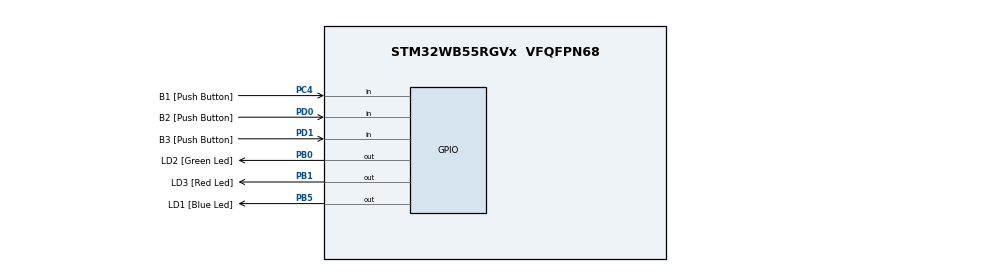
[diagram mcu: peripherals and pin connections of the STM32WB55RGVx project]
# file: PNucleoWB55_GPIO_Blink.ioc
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Mcu.Family=STM32WB
Mcu.Name=STM32WB55RGVx
Mcu.Package=VFQFPN68
NVIC.PriorityGroup=NVIC_PRIORITYGROUP_4
PA13.Mode=Serial_Wire
PA13.Signal=SYS_JTMS-SWDIO
PA14.Mode=Serial_Wire
PA14.Signal=SYS_JTCK-SWCLK
PB0.GPIO_Label=LD2 [Green Led]
PB0.PinState=GPIO_PIN_RESET
PB0.Signal=GPIO_Output
PB1.GPIO_Label=LD3 [Red Led]
PB1.Signal=GPIO_Output
PB5.GPIO_Label=LD1 [Blue Led]
PB5.PinState=GPIO_PIN_RESET
PB5.Signal=GPIO_Output
PC13.Mode=SYS_WakeUp1
PC13.Signal=SYS_WKUP2
PC4.GPIO_Label=B1 [Push Button]
PC4.Signal=GPIO_Input
PD0.GPIO_Label=B2 [Push Button]
PD0.Signal=GPIO_Input
PD1.GPIO_Label=B3 [Push Button]
PD1.Signal=GPIO_Input
ProjectManager.HeapSize=0x200
ProjectManager.StackSize=0x400
ProjectManager.TargetToolchain=STM32CubeIDE
RCC.ADCFreq_Value=12000000
RCC.AHB2CLKDivider=RCC_SYSCLK_DIV2
RCC.AHBFreq_Value=64000000
RCC.APB1Freq_Value=64000000
RCC.APB1TimFreq_Value=64000000
RCC.APB2Freq_Value=64000000
RCC.APB2TimFreq_Value=64000000
RCC.APB3Freq_Value=16000000
RCC.CortexFreq_Value=64000000
RCC.HCLKFreq_Value=64000000
RCC.HSE_VALUE=32000000
RCC.HSI48_VALUE=48000000
RCC.HSI_VALUE=16000000
RCC.LSE_VALUE=32768
RCC.PLLN=32
RCC.PLLSAI1N=6
RCC.SMPSCLockSelectionVirtual=RCC_SMPSCLKSOURCE_HSI
RCC.SMPSCLockSelectionVirtualVirtual=RCC_SMPSCLKSOURCE_HSI
RCC.SYSCLKFreq_VALUE=64000000
RCC.SYSCLKSource=RCC_SYSCLKSOURCE_PLLCLK
RCC.USBFreq_Value=12000000
RCC.VCOOutputFreq_Value=128000000
board=P-NUCLEO-WB55-Nucleo

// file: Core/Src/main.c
/* USER CODE BEGIN Header */
/**
 ******************************************************************************
 * @file           : main.c
 * @brief          : Main program body
 ******************************************************************************
 * @attention
 *
 * <h2><center>&copy; Copyright (c) 2020 STMicroelectronics.
 * All rights reserved.</center></h2>
 *
 * This software component is licensed by ST under BSD 3-Clause license,
 * the "License"; You may not use this file except in compliance with the
 * License. You may obtain a copy of the License at:
 *                        opensource.org/licenses/BSD-3-Clause
 *
 ******************************************************************************
 */
/* USER CODE END Header */

#include "main.h"

/* USER CODE BEGIN PV */
static __IO uint16_t hbTick = 0;
static __IO uint16_t longhbTick = 0;
static __IO uint8_t curStatus = 0;

/* USER CODE END PV */

void SystemClock_Config(void);
static void MX_GPIO_Init(void);

int main(void)
{

  /* MCU Configuration--------------------------------------------------------*/

  /* Reset of all peripherals, Initializes the Flash interface and the Systick. */
  HAL_Init();

  /* Configure the system clock */
  SystemClock_Config();

  /* Initialize all configured peripherals */
  MX_GPIO_Init();

  /* Infinite loop */
  /* USER CODE BEGIN WHILE */
	while (1)
	{
		/**> We have nothing to do here !!! */
    /* USER CODE END WHILE */

	}
}

void SystemClock_Config(void)
{
  RCC_OscInitTypeDef RCC_OscInitStruct = {0};
  RCC_ClkInitTypeDef RCC_ClkInitStruct = {0};
  RCC_PeriphCLKInitTypeDef PeriphClkInitStruct = {0};

  /** Configure the main internal regulator output voltage
  */
  __HAL_PWR_VOLTAGESCALING_CONFIG(PWR_REGULATOR_VOLTAGE_SCALE1);
  /** Initializes the CPU, AHB and APB busses clocks
  */
  RCC_OscInitStruct.OscillatorType = RCC_OSCILLATORTYPE_HSI|RCC_OSCILLATORTYPE_MSI;
  RCC_OscInitStruct.HSIState = RCC_HSI_ON;
  RCC_OscInitStruct.MSIState = RCC_MSI_ON;
  RCC_OscInitStruct.HSICalibrationValue = RCC_HSICALIBRATION_DEFAULT;
  RCC_OscInitStruct.MSICalibrationValue = RCC_MSICALIBRATION_DEFAULT;
  RCC_OscInitStruct.MSIClockRange = RCC_MSIRANGE_6;
  RCC_OscInitStruct.PLL.PLLState = RCC_PLL_ON;
  RCC_OscInitStruct.PLL.PLLSource = RCC_PLLSOURCE_MSI;
  RCC_OscInitStruct.PLL.PLLM = RCC_PLLM_DIV1;
  RCC_OscInitStruct.PLL.PLLN = 32;
  RCC_OscInitStruct.PLL.PLLP = RCC_PLLP_DIV2;
  RCC_OscInitStruct.PLL.PLLR = RCC_PLLR_DIV2;
  RCC_OscInitStruct.PLL.PLLQ = RCC_PLLQ_DIV2;
  if (HAL_RCC_OscConfig(&RCC_OscInitStruct) != HAL_OK)
  {
    Error_Handler();
  }
  /** Configure the SYSCLKSource, HCLK, PCLK1 and PCLK2 clocks dividers
  */
  RCC_ClkInitStruct.ClockType = RCC_CLOCKTYPE_HCLK4|RCC_CLOCKTYPE_HCLK2
                              |RCC_CLOCKTYPE_HCLK|RCC_CLOCKTYPE_SYSCLK
                              |RCC_CLOCKTYPE_PCLK1|RCC_CLOCKTYPE_PCLK2;
  RCC_ClkInitStruct.SYSCLKSource = RCC_SYSCLKSOURCE_PLLCLK;
  RCC_ClkInitStruct.AHBCLKDivider = RCC_SYSCLK_DIV1;
  RCC_ClkInitStruct.APB1CLKDivider = RCC_HCLK_DIV1;
  RCC_ClkInitStruct.APB2CLKDivider = RCC_HCLK_DIV1;
  RCC_ClkInitStruct.AHBCLK2Divider = RCC_SYSCLK_DIV2;
  RCC_ClkInitStruct.AHBCLK4Divider = RCC_SYSCLK_DIV1;

  if (HAL_RCC_ClockConfig(&RCC_ClkInitStruct, FLASH_LATENCY_3) != HAL_OK)
  {
    Error_Handler();
  }
  /** Initializes the peripherals clocks
  */
  PeriphClkInitStruct.PeriphClockSelection = RCC_PERIPHCLK_SMPS;
  PeriphClkInitStruct.SmpsClockSelection = RCC_SMPSCLKSOURCE_HSI;
  PeriphClkInitStruct.SmpsDivSelection = RCC_SMPSCLKDIV_RANGE1;

  if (HAL_RCCEx_PeriphCLKConfig(&PeriphClkInitStruct) != HAL_OK)
  {
    Error_Handler();
  }
}

static void MX_GPIO_Init(void)
{
  GPIO_InitTypeDef GPIO_InitStruct = {0};

  /* GPIO Ports Clock Enable */
  __HAL_RCC_GPIOC_CLK_ENABLE();
  __HAL_RCC_GPIOB_CLK_ENABLE();
  __HAL_RCC_GPIOA_CLK_ENABLE();
  __HAL_RCC_GPIOD_CLK_ENABLE();

  /*Configure GPIO pin Output Level */
  HAL_GPIO_WritePin(GPIOB, LD2_Pin|LD3_Pin|LD1_Pin, GPIO_PIN_RESET);

  /*Configure GPIO pin : B1_Pin */
  GPIO_InitStruct.Pin = B1_Pin;
  GPIO_InitStruct.Mode = GPIO_MODE_INPUT;
  GPIO_InitStruct.Pull = GPIO_NOPULL;
  HAL_GPIO_Init(B1_GPIO_Port, &GPIO_InitStruct);

  /*Configure GPIO pins : LD2_Pin LD3_Pin LD1_Pin */
  GPIO_InitStruct.Pin = LD2_Pin|LD3_Pin|LD1_Pin;
  GPIO_InitStruct.Mode = GPIO_MODE_OUTPUT_PP;
  GPIO_InitStruct.Pull = GPIO_NOPULL;
  GPIO_InitStruct.Speed = GPIO_SPEED_FREQ_LOW;
  HAL_GPIO_Init(GPIOB, &GPIO_InitStruct);

  /*Configure GPIO pins : B2_Pin B3_Pin */
  GPIO_InitStruct.Pin = B2_Pin|B3_Pin;
  GPIO_InitStruct.Mode = GPIO_MODE_INPUT;
  GPIO_InitStruct.Pull = GPIO_NOPULL;
  HAL_GPIO_Init(GPIOD, &GPIO_InitStruct);

}

/* USER CODE BEGIN 4 */
/**
 * @brief  SYSTICK callback.
 * @retval None
 */
void HAL_SYSTICK_Callback(void)
{
	/**> We want simulate a heartbeat flash with onboard Blue LED1 */
	/**> Cycle is:  ON 100ms -> Off 100ms -> ON 100ms -> OFF 1000ms then repeat */
	if(curStatus < 4)
	{
		if(hbTick < 100)
			hbTick++;
		else
		{
			HAL_GPIO_TogglePin(LD1_GPIO_Port, LD1_Pin);
			hbTick = 0;
			curStatus++;
		}
	}
	else
	{
		if(longhbTick < 1000)
			longhbTick++;
		else
		{
			curStatus = 0;
			longhbTick = 0;
		}
	}
}

/* USER CODE END 4 */

void Error_Handler(void)
{
}

/************************ (C) COPYRIGHT STMicroelectronics *****END OF FILE****/
